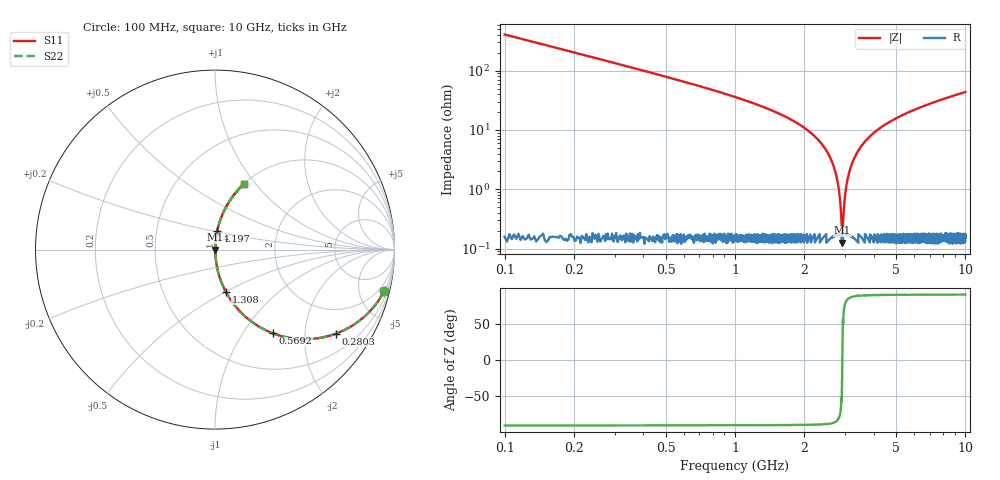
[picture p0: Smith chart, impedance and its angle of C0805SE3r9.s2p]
! AVX Thin Film Operation		Date: April 2012
! Description: Accu-P® Series, Thin Film, SMD, RF Capacitor
! Part Number: 08051J3R9ABTTR
!	100	MHz	-	10.05	GHz
!	Serial	Measurements
#	MHZ	S	MA	R	50
!	S11	S21	S12	S22
!	dB	Phase	dB	Phase	dB	Phase	dB	Phase
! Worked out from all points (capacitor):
!   4010 points, 100 MHz to 10 GHz, reference 50 ohm
!   read as one part in series: C = 3.9 pF near 149.4 MHz
!   lowest |Z| = 125 mohm at 2.923 GHz (marker M1)
!   series resonance near 2.923 GHz, so ESL is about 760 pH
!   S11 on the Smith chart (normalised r, x): 100 MHz: 1.01, -8.15; 280.3 MHz: 1.01, -2.88; 569.2 MHz: 1.00, -1.38; 1.308 GHz: 1.00, -0.50; 4.197 GHz: 1.00, +0.21; 10 GHz: 1.00, +0.87
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100  0.971 -13.8  0.238 76.2  0.238 76.2  0.971 -13.8
280.269  0.821 -34.7  0.569 55.2  0.569 55.2  0.821 -34.7
569.194  0.567 -55.3  0.822 34.6  0.822 34.6  0.567 -55.3
870.466  0.392 -66.7  0.918 23.1  0.918 23.1  0.392 -66.7
1307.558  0.242 -75.7  0.969 14.0  0.969 14.0  0.242 -75.7
1752.058  0.147 -80.9  0.988 8.5  0.988 8.5  0.147 -80.9
2280.519  0.07 -84.8  0.996 4.0  0.996 4.0  0.07 -84.8
2608.955  0.032 -85.5  0.998 1.8  0.998 1.8  0.032 -85.5
2789.224  0.013 -82.7  0.998 0.7  0.998 0.7  0.013 -82.7
2841.083  0.00807 -78.8  0.998 0.5  0.998 0.5  0.00807 -78.8
2892.941  0.00325 -62.4  0.998 0.2  0.998 0.2  0.00325 -62.4
2922.574  0.0015 -1.6  0.999 0.0  0.999 0.0  0.0015 -1.6
2954.677  0.00336 63.3  0.998 -0.2  0.998 -0.2  0.00336 63.3
3028.76  0.01 80.8  0.998 -0.6  0.998 -0.6  0.01 80.8
3095.435  0.016 83.7  0.998 -0.9  0.998 -0.9  0.016 83.7
3218.907  0.027 85.3  0.998 -1.5  0.998 -1.5  0.027 85.3
3401.646  0.042 85.5  0.998 -2.4  0.998 -2.4  0.042 85.5
4196.807  0.103 83.3  0.993 -5.9  0.993 -5.9  0.103 83.3
5051.235  0.158 80.4  0.986 -9.1  0.986 -9.1  0.158 80.4
6700.823  0.251 75.2  0.967 -14.5  0.967 -14.5  0.251 75.2
8350.412  0.33 70.5  0.943 -19.3  0.943 -19.3  0.33 70.5
10000  0.4 66.2  0.915 -23.6  0.915 -23.6  0.4 66.2
